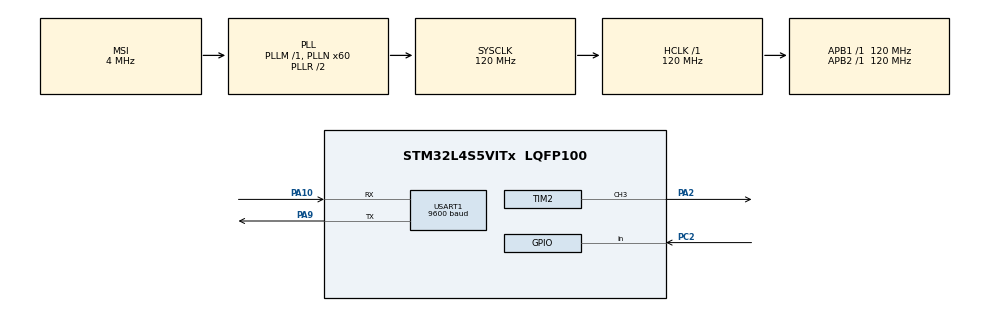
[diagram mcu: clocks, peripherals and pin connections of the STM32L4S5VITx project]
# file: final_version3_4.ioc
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Mcu.Family=STM32L4
Mcu.Name=STM32L4S5VITx
Mcu.Package=LQFP100
NVIC.PriorityGroup=NVIC_PRIORITYGROUP_4
NVIC.USART1_IRQn=true\:0\:0\:false\:false\:true\:true\:true
PA10.Mode=Asynchronous
PA10.Signal=USART1_RX
PA13\ (JTMS/SWDIO).Mode=Serial_Wire
PA13\ (JTMS/SWDIO).Signal=SYS_JTMS-SWDIO
PA14\ (JTCK/SWCLK).Mode=Serial_Wire
PA14\ (JTCK/SWCLK).Signal=SYS_JTCK-SWCLK
PA2.Signal=S_TIM2_CH3
PA9.Mode=Asynchronous
PA9.Signal=USART1_TX
PC2.Signal=GPIO_Input
PH0-OSC_IN\ (PH0).Mode=HSE-External-Oscillator
PH0-OSC_IN\ (PH0).Signal=RCC_OSC_IN
PH1-OSC_OUT\ (PH1).Mode=HSE-External-Oscillator
PH1-OSC_OUT\ (PH1).Signal=RCC_OSC_OUT
ProjectManager.HeapSize=0x200
ProjectManager.StackSize=0x400
ProjectManager.TargetToolchain=STM32CubeIDE
RCC.AHBFreq_Value=120000000
RCC.APB1Freq_Value=120000000
RCC.APB1TimFreq_Value=120000000
RCC.APB2Freq_Value=120000000
RCC.APB2TimFreq_Value=120000000
RCC.CortexFreq_Value=120000000
RCC.HCLKFreq_Value=120000000
RCC.HSE_VALUE=8000000
RCC.HSI48_VALUE=48000000
RCC.HSI_VALUE=16000000
RCC.LSE_VALUE=32768
RCC.MSI_VALUE=4000000
RCC.PLLN=60
RCC.SYSCLKFreq_VALUE=120000000
RCC.SYSCLKSource=RCC_SYSCLKSOURCE_PLLCLK
RCC.VCOOutputFreq_Value=240000000
SH.S_TIM2_CH3.0=TIM2_CH3,PWM Generation3 CH3
TIM2.Channel-PWM\ Generation3\ CH3=TIM_CHANNEL_3
TIM2.Period=5000-1
TIM2.Prescaler=1200-1
USART1.BaudRate=9600
USART1.VirtualMode-Asynchronous=VM_ASYNC
board=custom

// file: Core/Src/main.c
/* USER CODE BEGIN Header */
/**
  ******************************************************************************
  * @file           : main.c
  * @brief          : Main program body
  ******************************************************************************
  * @attention
  *
  * <h2><center>&copy; Copyright (c) 2021 STMicroelectronics.
  * All rights reserved.</center></h2>
  *
  * This software component is licensed by ST under BSD 3-Clause license,
  * the "License"; You may not use this file except in compliance with the
  * License. You may obtain a copy of the License at:
  *                        opensource.org/licenses/BSD-3-Clause
  *
  ******************************************************************************
  */
/* USER CODE END Header */
#include "main.h"
#include "tim.h"
#include "usart.h"
#include "gpio.h"

/* USER CODE BEGIN PV */
int pin_number = 0;
uint8_t data;

/* USER CODE END PV */

void SystemClock_Config(void);

int main(void)
{

  /* MCU Configuration--------------------------------------------------------*/

  /* Reset of all peripherals, Initializes the Flash interface and the Systick. */
  HAL_Init();

  /* Configure the system clock */
  SystemClock_Config();

  /* Initialize all configured peripherals */
  MX_GPIO_Init();
  MX_TIM2_Init();
  MX_USART1_UART_Init();
  /* USER CODE BEGIN 2 */

  HAL_TIM_PWM_Init(&htim2);
  HAL_TIM_PWM_Start(&htim2, TIM_CHANNEL_3);

  HAL_UART_Receive_IT(&huart1, &data, 1);

  /* USER CODE END 2 */

  /* Infinite loop */
  while (1)
  {

    /* USER CODE BEGIN 3 */

	  pin_number = HAL_GPIO_ReadPin(GPIOC, GPIO_PIN_2);

	  if(pin_number=0 or data = 65)
		  {TIM2->CCR3=4000;

	  	   HAL_Delay(1000);
	  	   TIM2->CCR3=3700;}

	  else if(pin_number=1  or data = 66)
		  {TIM2->CCR3=3500;

		   HAL_Delay(1000);
		   TIM2->CCR3=3700;}

	  else
		  TIM2->CCR3=3700;

  }
  /* USER CODE END 3 */
}

void SystemClock_Config(void)
{
  RCC_OscInitTypeDef RCC_OscInitStruct = {0};
  RCC_ClkInitTypeDef RCC_ClkInitStruct = {0};
  RCC_PeriphCLKInitTypeDef PeriphClkInit = {0};

  /** Configure the main internal regulator output voltage
  */
  if (HAL_PWREx_ControlVoltageScaling(PWR_REGULATOR_VOLTAGE_SCALE1_BOOST) != HAL_OK)
  {
    Error_Handler();
  }
  /** Initializes the RCC Oscillators according to the specified parameters
  * in the RCC_OscInitTypeDef structure.
  */
  RCC_OscInitStruct.OscillatorType = RCC_OSCILLATORTYPE_MSI;
  RCC_OscInitStruct.MSIState = RCC_MSI_ON;
  RCC_OscInitStruct.MSICalibrationValue = 0;
  RCC_OscInitStruct.MSIClockRange = RCC_MSIRANGE_6;
  RCC_OscInitStruct.PLL.PLLState = RCC_PLL_ON;
  RCC_OscInitStruct.PLL.PLLSource = RCC_PLLSOURCE_MSI;
  RCC_OscInitStruct.PLL.PLLM = 1;
  RCC_OscInitStruct.PLL.PLLN = 60;
  RCC_OscInitStruct.PLL.PLLP = RCC_PLLP_DIV2;
  RCC_OscInitStruct.PLL.PLLQ = RCC_PLLQ_DIV2;
  RCC_OscInitStruct.PLL.PLLR = RCC_PLLR_DIV2;
  if (HAL_RCC_OscConfig(&RCC_OscInitStruct) != HAL_OK)
  {
    Error_Handler();
  }
  /** Initializes the CPU, AHB and APB buses clocks
  */
  RCC_ClkInitStruct.ClockType = RCC_CLOCKTYPE_HCLK|RCC_CLOCKTYPE_SYSCLK
                              |RCC_CLOCKTYPE_PCLK1|RCC_CLOCKTYPE_PCLK2;
  RCC_ClkInitStruct.SYSCLKSource = RCC_SYSCLKSOURCE_PLLCLK;
  RCC_ClkInitStruct.AHBCLKDivider = RCC_SYSCLK_DIV1;
  RCC_ClkInitStruct.APB1CLKDivider = RCC_HCLK_DIV1;
  RCC_ClkInitStruct.APB2CLKDivider = RCC_HCLK_DIV1;

  if (HAL_RCC_ClockConfig(&RCC_ClkInitStruct, FLASH_LATENCY_5) != HAL_OK)
  {
    Error_Handler();
  }
  PeriphClkInit.PeriphClockSelection = RCC_PERIPHCLK_USART1;
  PeriphClkInit.Usart1ClockSelection = RCC_USART1CLKSOURCE_PCLK2;
  if (HAL_RCCEx_PeriphCLKConfig(&PeriphClkInit) != HAL_OK)
  {
    Error_Handler();
  }
}

void Error_Handler(void)
{
  __disable_irq();
  while (1)
  {
  }
}

/************************ (C) COPYRIGHT STMicroelectronics *****END OF FILE****/
